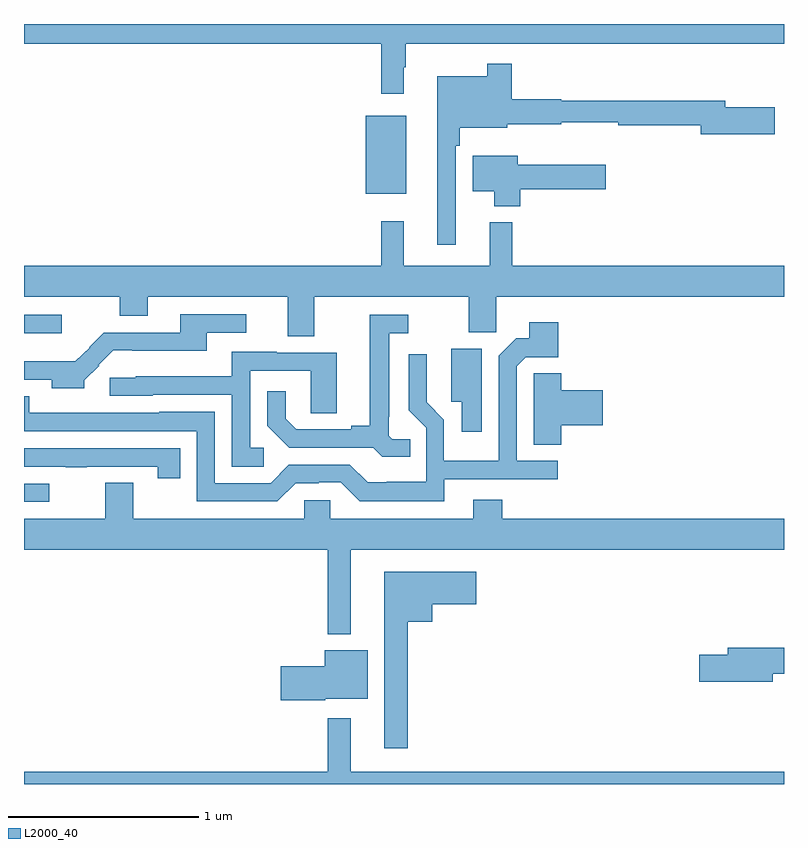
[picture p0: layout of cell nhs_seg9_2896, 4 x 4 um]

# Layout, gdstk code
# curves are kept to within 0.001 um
import gdstk
lib = gdstk.Library(unit=1e-6, precision=1e-09)
def R(c, l, rs):  # rectangles x0, y0, x1, y1
    for r in rs: c.add(gdstk.rectangle(r[:2], r[2:], *l))
def P(c, l, *ps):  # polygons
    for p in ps: c.add(gdstk.Polygon(p, *l))
L2000_40 = (2000, 40)

nhs_seg9_2896 = lib.new_cell('nhs_seg9_2896')
R(nhs_seg9_2896, L2000_40, [(277,1217.985,277.132,1218.081), (277,1218.872,277.198,1218.969), (278.798,1219.607,279.013,1220.017)])
P(nhs_seg9_2896, L2000_40, [(278.998,1220.273),(279.01,1220.273),(279.01,1220.396),(281,1220.396),(281,1220.5),(277,1220.5),(277,1220.396),(278.881,1220.396),(278.881,1220.133),(278.998,1220.133)],
  [(279.273,1219.859),(279.293,1219.859),(279.293,1219.955),(279.543,1219.955),(279.543,1219.973),(279.828,1219.973),(279.828,1219.984),(280.128,1219.984),(280.128,1219.966),(280.562,1219.966),(280.562,1219.919),(280.951,1219.919),(280.951,1220.061),(280.69,1220.061),(280.69,1220.095),(279.828,1220.095),(279.828,1220.103),(279.566,1220.103),(279.566,1220.29),(279.438,1220.29),(279.438,1220.224),(279.176,1220.224),(279.176,1219.338),(279.273,1219.338)],
  [(279.611,1219.63),(280.063,1219.63),(280.063,1219.759),(279.598,1219.759),(279.598,1219.807),(279.362,1219.807),(279.362,1219.619),(279.476,1219.619),(279.476,1219.541),(279.611,1219.541)],
  [(278.527,1219.064),(279.34,1219.064),(279.34,1218.877),(279.486,1218.877),(279.486,1219.064),(281,1219.064),(281,1219.228),(279.569,1219.228),(279.569,1219.456),(279.452,1219.456),(279.452,1219.228),(278.999,1219.228),(278.999,1219.462),(278.881,1219.462),(278.881,1219.228),(277,1219.228),(277,1219.064),(277.504,1219.064),(277.504,1218.965),(277.651,1218.965),(277.651,1219.064),(278.387,1219.064),(278.387,1218.856),(278.527,1218.856)],
  [(277.316,1218.624),(277.395,1218.702),(277.392,1218.705),(277.469,1218.782),(277.57,1218.782),(277.57,1218.779),(277.963,1218.779),(277.963,1218.876),(278.17,1218.876),(278.17,1218.972),(277.823,1218.972),(277.823,1218.876),(277.419,1218.876),(277.343,1218.799),(277.345,1218.797),(277.271,1218.724),(277,1218.724),(277,1218.627),(277.145,1218.627),(277.145,1218.584),(277.316,1218.584)],
  [(279.032,1218.315),(278.937,1218.315),(278.919,1218.333),(278.919,1218.433),(278.923,1218.433),(278.923,1218.873),(279.022,1218.873),(279.022,1218.969),(278.819,1218.969),(278.819,1218.386),(278.723,1218.386),(278.723,1218.366),(278.434,1218.366),(278.377,1218.423),(278.377,1218.568),(278.28,1218.568),(278.28,1218.386),(278.396,1218.27),(278.838,1218.27),(278.886,1218.223),(279.032,1218.223)],
  [(279.211,1218.105),(279.808,1218.105),(279.808,1218.201),(279.594,1218.201),(279.594,1218.699),(279.642,1218.747),(279.812,1218.747),(279.812,1218.931),(279.659,1218.931),(279.659,1218.846),(279.591,1218.846),(279.498,1218.753),(279.498,1218.202),(279.21,1218.202),(279.21,1218.418),(279.119,1218.51),(279.12,1218.763),(279.024,1218.763),(279.024,1218.468),(279.117,1218.375),(279.117,1218.091),(278.908,1218.091),(278.908,1218.087),(278.808,1218.087),(278.715,1218.18),(278.394,1218.18),(278.298,1218.084),(278.004,1218.084),(278.004,1218.46),(277.713,1218.46),(277.713,1218.453),(277.027,1218.454),(277.027,1218.542),(277,1218.542),(277,1218.357),(277.908,1218.357),(277.908,1217.988),(278.334,1217.988),(278.43,1218.084),(278.55,1218.084),(278.55,1218.087),(278.667,1218.087),(278.767,1217.987),(279.211,1217.987)],
  [(279.409,1218.792),(279.248,1218.792),(279.248,1218.513),(279.305,1218.513),(279.305,1218.354),(279.409,1218.354)],
  [(278.263,1218.27),(278.19,1218.27),(278.19,1218.675),(278.508,1218.675),(278.508,1218.451),(278.647,1218.451),(278.647,1218.771),(278.329,1218.771),(278.329,1218.775),(278.093,1218.775),(278.093,1218.646),(277.587,1218.646),(277.587,1218.639),(277.452,1218.639),(277.452,1218.543),(277.677,1218.543),(277.677,1218.549),(278.094,1218.549),(278.094,1218.169),(278.263,1218.169)],
  [(279.827,1218.389),(280.045,1218.389),(280.045,1218.572),(279.827,1218.572),(279.827,1218.662),(279.684,1218.662),(279.684,1218.554),(279.683,1218.554),(279.683,1218.286),(279.827,1218.286)],
  [(277.823,1218.267),(277,1218.267),(277,1218.171),(277.219,1218.171),(277.219,1218.166),(277.331,1218.166),(277.331,1218.171),(277.705,1218.171),(277.705,1218.108),(277.823,1218.108)],
  [(278.719,1217.732),(281,1217.732),(281,1217.896),(279.518,1217.896),(279.518,1217.995),(279.365,1217.995),(279.365,1217.896),(278.613,1217.896),(278.613,1217.994),(278.475,1217.994),(278.475,1217.896),(277.575,1217.896),(277.575,1218.086),(277.427,1218.086),(277.427,1217.896),(277,1217.896),(277,1217.732),(278.598,1217.732),(278.598,1217.288),(278.719,1217.288)],
  [(279.019,1217.354),(279.148,1217.354),(279.148,1217.447),(279.379,1217.447),(279.379,1217.617),(278.897,1217.617),(278.897,1216.689),(279.019,1216.689)],
  [(280.942,1217.08),(281,1217.08),(281,1217.216),(280.703,1217.216),(280.703,1217.18),(280.554,1217.18),(280.554,1217.038),(280.942,1217.038)],
  [(278.586,1216.949),(278.809,1216.949),(278.809,1217.203),(278.582,1217.203),(278.582,1217.12),(278.352,1217.12),(278.352,1216.942),(278.586,1216.942)],
  [(281,1216.564),(278.719,1216.564),(278.719,1216.846),(278.598,1216.846),(278.598,1216.564),(277,1216.564),(277,1216.5),(281,1216.5)])

lib.write_gds('nhs_seg9_2896.gds')
